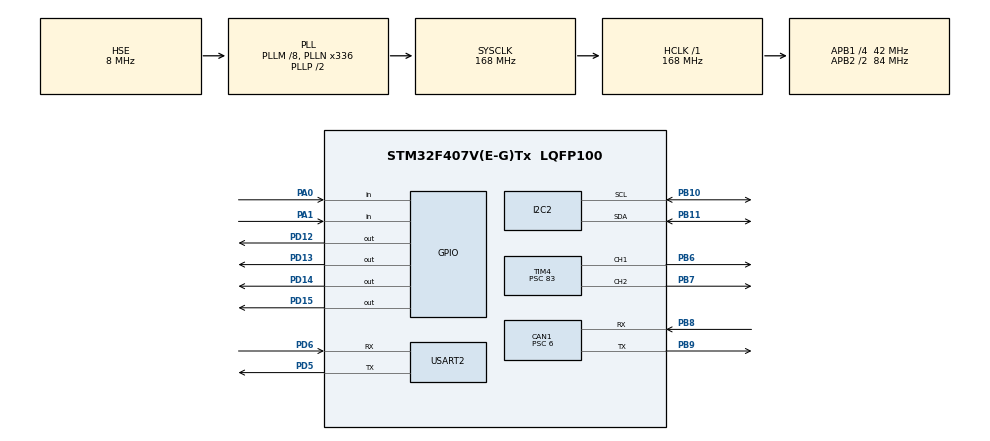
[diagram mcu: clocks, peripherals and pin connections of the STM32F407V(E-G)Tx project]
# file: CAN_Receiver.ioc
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CAN1.BS1=CAN_BS1_11TQ
CAN1.BS2=CAN_BS2_2TQ
CAN1.CalculateBaudRate=500000
CAN1.CalculateTimeBit=2000
CAN1.CalculateTimeQuantum=142.85714285714286
CAN1.NART=ENABLE
CAN1.Prescaler=6
Mcu.Family=STM32F4
Mcu.Name=STM32F407V(E-G)Tx
Mcu.Package=LQFP100
NVIC.CAN1_RX0_IRQn=true\:0\:0\:false\:false\:true\:true\:true\:true
NVIC.PriorityGroup=NVIC_PRIORITYGROUP_4
PA0-WKUP.Signal=GPIO_Input
PA1.Signal=GPIO_Input
PA13.Mode=Serial_Wire
PA13.Signal=SYS_JTMS-SWDIO
PA14.Mode=Serial_Wire
PA14.Signal=SYS_JTCK-SWCLK
PB10.Mode=I2C
PB10.Signal=I2C2_SCL
PB11.Mode=I2C
PB11.Signal=I2C2_SDA
PB6.GPIO_PuPd=GPIO_PULLUP
PB6.Signal=S_TIM4_CH1
PB7.GPIO_PuPd=GPIO_PULLUP
PB7.Signal=S_TIM4_CH2
PB8.Mode=CAN_Activate
PB8.Signal=CAN1_RX
PB9.Mode=CAN_Activate
PB9.Signal=CAN1_TX
PD12.Signal=GPIO_Output
PD13.Signal=GPIO_Output
PD14.Signal=GPIO_Output
PD15.Signal=GPIO_Output
PD5.Mode=Asynchronous
PD5.Signal=USART2_TX
PD6.Mode=Asynchronous
PD6.Signal=USART2_RX
PH0-OSC_IN.Mode=HSE-External-Oscillator
PH0-OSC_IN.Signal=RCC_OSC_IN
PH1-OSC_OUT.Mode=HSE-External-Oscillator
PH1-OSC_OUT.Signal=RCC_OSC_OUT
ProjectManager.HeapSize=0x200
ProjectManager.StackSize=0x400
ProjectManager.TargetToolchain=STM32CubeIDE
RCC.48MHZClocksFreq_Value=84000000
RCC.AHBFreq_Value=168000000
RCC.APB1CLKDivider=RCC_HCLK_DIV4
RCC.APB1Freq_Value=42000000
RCC.APB1TimFreq_Value=84000000
RCC.APB2CLKDivider=RCC_HCLK_DIV2
RCC.APB2Freq_Value=84000000
RCC.APB2TimFreq_Value=168000000
RCC.CortexFreq_Value=168000000
RCC.HCLKFreq_Value=168000000
RCC.HSE_VALUE=8000000
RCC.HSI_VALUE=16000000
RCC.LSE_VALUE=32768
RCC.PLLM=8
RCC.PLLN=336
RCC.PLLSourceVirtual=RCC_PLLSOURCE_HSE
RCC.SYSCLKFreq_VALUE=168000000
RCC.SYSCLKSource=RCC_SYSCLKSOURCE_PLLCLK
RCC.VCOOutputFreq_Value=336000000
SH.S_TIM4_CH1.0=TIM4_CH1,PWM Generation1 CH1
SH.S_TIM4_CH2.0=TIM4_CH2,PWM Generation2 CH2
TIM4.AutoReloadPreload=TIM_AUTORELOAD_PRELOAD_ENABLE
TIM4.Channel-PWM\ Generation1\ CH1=TIM_CHANNEL_1
TIM4.Channel-PWM\ Generation2\ CH2=TIM_CHANNEL_2
TIM4.Period=19999
TIM4.Prescaler=83
USART2.VirtualMode=VM_ASYNC
board=custom

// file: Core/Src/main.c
/*/* USER CODE BEGIN Header */
/**
  ******************************************************************************
  * @file           : main.c
  * @brief          : Main program body
  ******************************************************************************
  * @attention
  *
  * Copyright (c) 2026 STMicroelectronics.
  * All rights reserved.
  *
  * This software is licensed under terms that can be found in the LICENSE file
  * in the root directory of this software component.
  * If no LICENSE file comes with this software, it is provided AS-IS.
  *
  ******************************************************************************
  */
/* USER CODE END Header */
#include "main.h"

/* USER CODE BEGIN Includes */
#include<string.h>
#include<stdio.h>
#include <stdint.h>
#include "lcd.h"
/* USER CODE END Includes */

/* USER CODE BEGIN PD */
#define SERVO_0_DEG    500    // 0.5 ms pulse
#define SERVO_90_DEG   1500   // 1.5 ms pulse
#define GATE_OPEN_TIME 3000
/* USER CODE END PD */

CAN_HandleTypeDef hcan1;

I2C_HandleTypeDef hi2c2;

TIM_HandleTypeDef htim4;

UART_HandleTypeDef huart2;

/* USER CODE BEGIN PV */
char uartMsg[100];

CAN_RxHeaderTypeDef RxHeader;
uint8_t RxData[8];

uint8_t Slot1_Status = 0;
uint8_t Slot2_Status = 0;
/* USER CODE END PV */

void SystemClock_Config(void);
static void MX_GPIO_Init(void);
static void MX_CAN1_Init(void);
static void MX_USART2_UART_Init(void);
static void MX_I2C2_Init(void);
static void MX_TIM4_Init(void);
/* USER CODE BEGIN PFP */

uint16_t angle_to_pulse(uint8_t angle_deg);
void Servo1_SetAngle(uint8_t angle_deg);
void Servo2_SetAngle(uint8_t angle_deg);

/* USER CODE END PFP */

/* USER CODE BEGIN 0 */
void HAL_CAN_RxFifo0MsgPendingCallback(CAN_HandleTypeDef *hcan)
{
	HAL_GPIO_TogglePin(GPIOD, GPIO_PIN_12);
    if(HAL_CAN_GetRxMessage(hcan,CAN_RX_FIFO0,&RxHeader,RxData) != HAL_OK)
    {
    	sprintf(uartMsg,"ERROR: CAN Receive Failed\r\n");
        HAL_UART_Transmit(&huart2,(uint8_t*)uartMsg,strlen(uartMsg),HAL_MAX_DELAY);
        return;
    }

    if(RxHeader.IDE == CAN_ID_STD &&
       RxHeader.StdId == 0x123)
    {
    	if(RxHeader.DLC == 2)
    	{
    	    Slot1_Status = RxData[0];
    	    Slot2_Status = RxData[1];
    	}
    	else
    	{
    	    sprintf(uartMsg,"ERROR: Invalid DLC = %d\r\n",RxHeader.DLC);
    	    HAL_UART_Transmit(&huart2,(uint8_t*)uartMsg,strlen(uartMsg),HAL_MAX_DELAY);
    	    return;
    	}

        sprintf(uartMsg,"Received: S1=%d S2=%d\r\n",Slot1_Status,Slot2_Status);

        HAL_UART_Transmit(&huart2,(uint8_t*)uartMsg,strlen(uartMsg),HAL_MAX_DELAY);

        /* LED for Slot 1 */
        if(Slot1_Status == 1)
            HAL_GPIO_WritePin(GPIOD, GPIO_PIN_13, GPIO_PIN_SET);
        else
            HAL_GPIO_WritePin(GPIOD, GPIO_PIN_13, GPIO_PIN_RESET);

        /* LED for Slot 2 */
        if(Slot2_Status == 1)
            HAL_GPIO_WritePin(GPIOD, GPIO_PIN_14, GPIO_PIN_SET);
        else
            HAL_GPIO_WritePin(GPIOD, GPIO_PIN_14, GPIO_PIN_RESET);
    }
    else
    {
        sprintf(uartMsg,"Unknown CAN ID: 0x%03lX\r\n",RxHeader.StdId);
        HAL_UART_Transmit(&huart2,(uint8_t*)uartMsg,strlen(uartMsg),HAL_MAX_DELAY);
    }
}
/* USER CODE END 0 */

int main(void)
{

  /* MCU Configuration--------------------------------------------------------*/

  /* Reset of all peripherals, Initializes the Flash interface and the Systick. */
  HAL_Init();

  /* Configure the system clock */
  SystemClock_Config();

  /* Initialize all configured peripherals */
  MX_GPIO_Init();
  MX_CAN1_Init();
  MX_USART2_UART_Init();
  MX_I2C2_Init();
  MX_TIM4_Init();

  /* USER CODE BEGIN 2 */
  HAL_TIM_PWM_Start(&htim4, TIM_CHANNEL_1);
  HAL_TIM_PWM_Start(&htim4, TIM_CHANNEL_2);

  __HAL_TIM_SET_COMPARE(&htim4, TIM_CHANNEL_1, SERVO_0_DEG);
  __HAL_TIM_SET_COMPARE(&htim4, TIM_CHANNEL_2, SERVO_0_DEG);
  HAL_Delay(500);

  LCD_Init();
  LCD_UpdateParkingDisplay();

//  Servo1_SetAngle(90);
//    Servo2_SetAngle(90);
//    HAL_Delay(1000);
  /* USER CODE END 2 */

  /* USER CODE BEGIN 2 */
  HAL_UART_Transmit(&huart2, (uint8_t*)"HELLO\n\r", 7, HAL_MAX_DELAY);
  if (HAL_CAN_Start(&hcan1) == HAL_OK)
  {
      if(HAL_CAN_ActivateNotification(&hcan1,CAN_IT_RX_FIFO0_MSG_PENDING) != HAL_OK)
      {
          sprintf(uartMsg,"ERROR: CAN Notification Failed\r\n");
          HAL_UART_Transmit(&huart2,(uint8_t*)uartMsg,strlen(uartMsg),HAL_MAX_DELAY);

          Error_Handler();
      }

      HAL_GPIO_WritePin(GPIOD, GPIO_PIN_15, GPIO_PIN_SET);

      sprintf(uartMsg,"CAN Started Successfully\r\n");
      HAL_UART_Transmit(&huart2,(uint8_t*)uartMsg,strlen(uartMsg),HAL_MAX_DELAY);
  }
  else
  {
      HAL_GPIO_WritePin(GPIOD, GPIO_PIN_15, GPIO_PIN_RESET);

      sprintf(uartMsg,"ERROR: CAN Start Failed\r\n");
      HAL_UART_Transmit(&huart2,(uint8_t*)uartMsg,strlen(uartMsg),HAL_MAX_DELAY);
  }

  /* USER CODE END 2 */

  /* Infinite loop */
  /* USER CODE BEGIN WHILE */
//  while (1)
//  {
//    /* USER CODE END WHILE */
//
//    /* USER CODE BEGIN 3 */
//  /* USER CODE END 3 */
//  }

  while (1)
  	  {
  	      uint8_t entryNow = (HAL_GPIO_ReadPin(GPIOA, GPIO_PIN_0) == GPIO_PIN_SET);
  	      uint8_t exitNow  = (HAL_GPIO_ReadPin(GPIOA, GPIO_PIN_1) == GPIO_PIN_SET);

  	      // -------- ENTRY GATE --------
//  	      if (entryNow)
//  	      {
//  	          __HAL_TIM_SET_COMPARE(&htim4, TIM_CHANNEL_1, SERVO_90_DEG);
//  	          HAL_GPIO_WritePin(GPIOD, GPIO_PIN_12, GPIO_PIN_RESET);   // Green LED ON
//
//  	          if (!entryPrevState && (parkedCount < TOTAL_SLOTS))   // rising edge + slot available
//  	          {
//  	              parkedCount++;
//  	              lcdNeedsUpdate = 1;
//  	          }
//  	      }
//  	      else
//  	      {
//  	          __HAL_TIM_SET_COMPARE(&htim4, TIM_CHANNEL_1, SERVO_0_DEG);
//  	          HAL_GPIO_WritePin(GPIOD, GPIO_PIN_12, GPIO_PIN_SET);     // Green LED OFF
//  	      }
//  	      entryPrevState = entryNow;

  	    if(entryNow)
  	    {
  	        if(parkedCount < TOTAL_SLOTS)        // Parking available
  	        {
  	            __HAL_TIM_SET_COMPARE(&htim4, TIM_CHANNEL_1, SERVO_90_DEG);

  	            if(!entryPrevState)
  	            {
  	                parkedCount++;
  	                lcdNeedsUpdate = 1;
  	            }
  	        }
  	        else                                 // Parking Full
  	        {
  	            __HAL_TIM_SET_COMPARE(&htim4, TIM_CHANNEL_1, SERVO_0_DEG);
  	            lcdNeedsUpdate = 1;              // LCD shows "Parking Full"
  	        }
  	    }
  	    else
  	    {
  	        __HAL_TIM_SET_COMPARE(&htim4, TIM_CHANNEL_1, SERVO_0_DEG);
  	    }

  	    entryPrevState = entryNow;

  	      // -------- EXIT GATE --------
  	      if (exitNow)
  	      {
  	          __HAL_TIM_SET_COMPARE(&htim4, TIM_CHANNEL_2, SERVO_90_DEG);
  	          HAL_GPIO_WritePin(GPIOD, GPIO_PIN_13, GPIO_PIN_RESET);   // Orange LED ON

  	          if (!exitPrevState && (parkedCount > 0))   // rising edge + car actually parked
  	          {
  	              parkedCount--;
  	              lcdNeedsUpdate = 1;
  	          }
  	      }
  	      else
  	      {
  	          __HAL_TIM_SET_COMPARE(&htim4, TIM_CHANNEL_2, SERVO_0_DEG);
  	          HAL_GPIO_WritePin(GPIOD, GPIO_PIN_13, GPIO_PIN_SET);     // Orange LED OFF
  	      }
  	      exitPrevState = exitNow;

  	      // -------- LCD update (only when count changes, avoids I2C spam) --------
  	      if (lcdNeedsUpdate)
  	      {
  	    	  HAL_Delay(200);
  	          LCD_UpdateParkingDisplay();
  	          lcdNeedsUpdate = 0;
  	      }

  	      HAL_Delay(20);
  	  }

}
void SystemClock_Config(void)
{
  RCC_OscInitTypeDef RCC_OscInitStruct = {0};
  RCC_ClkInitTypeDef RCC_ClkInitStruct = {0};

  /** Configure the main internal regulator output voltage
  */
  __HAL_RCC_PWR_CLK_ENABLE();
  __HAL_PWR_VOLTAGESCALING_CONFIG(PWR_REGULATOR_VOLTAGE_SCALE1);

  /** Initializes the RCC Oscillators according to the specified parameters
  * in the RCC_OscInitTypeDef structure.
  */
  RCC_OscInitStruct.OscillatorType = RCC_OSCILLATORTYPE_HSE;
  RCC_OscInitStruct.HSEState = RCC_HSE_ON;
  RCC_OscInitStruct.PLL.PLLState = RCC_PLL_ON;
  RCC_OscInitStruct.PLL.PLLSource = RCC_PLLSOURCE_HSE;
  RCC_OscInitStruct.PLL.PLLM = 8;
  RCC_OscInitStruct.PLL.PLLN = 336;
  RCC_OscInitStruct.PLL.PLLP = RCC_PLLP_DIV2;
  RCC_OscInitStruct.PLL.PLLQ = 4;
  if (HAL_RCC_OscConfig(&RCC_OscInitStruct) != HAL_OK)
  {
    Error_Handler();
  }

  /** Initializes the CPU, AHB and APB buses clocks
  */
  RCC_ClkInitStruct.ClockType = RCC_CLOCKTYPE_HCLK|RCC_CLOCKTYPE_SYSCLK
                              |RCC_CLOCKTYPE_PCLK1|RCC_CLOCKTYPE_PCLK2;
  RCC_ClkInitStruct.SYSCLKSource = RCC_SYSCLKSOURCE_PLLCLK;
  RCC_ClkInitStruct.AHBCLKDivider = RCC_SYSCLK_DIV1;
  RCC_ClkInitStruct.APB1CLKDivider = RCC_HCLK_DIV4;
  RCC_ClkInitStruct.APB2CLKDivider = RCC_HCLK_DIV2;

  if (HAL_RCC_ClockConfig(&RCC_ClkInitStruct, FLASH_LATENCY_5) != HAL_OK)
  {
    Error_Handler();
  }
}

static void MX_CAN1_Init(void)
{

  hcan1.Instance = CAN1;
  hcan1.Init.Prescaler = 6;
  hcan1.Init.Mode = CAN_MODE_NORMAL;
  hcan1.Init.SyncJumpWidth = CAN_SJW_1TQ;
  hcan1.Init.TimeSeg1 = CAN_BS1_11TQ;
  hcan1.Init.TimeSeg2 = CAN_BS2_2TQ;
  hcan1.Init.TimeTriggeredMode = DISABLE;
  hcan1.Init.AutoBusOff = DISABLE;
  hcan1.Init.AutoWakeUp = DISABLE;
  hcan1.Init.AutoRetransmission = ENABLE;
  hcan1.Init.ReceiveFifoLocked = DISABLE;
  hcan1.Init.TransmitFifoPriority = DISABLE;
  if (HAL_CAN_Init(&hcan1) != HAL_OK)
  {
    Error_Handler();
  }
  /* USER CODE BEGIN CAN1_Init 2 */
  CAN_FilterTypeDef canFilter;

  canFilter.FilterActivation = ENABLE;
  canFilter.FilterBank = 0;
  canFilter.FilterFIFOAssignment = CAN_FILTER_FIFO0;
  canFilter.FilterIdHigh = 0x0000;
  canFilter.FilterIdLow = 0x0000;
  canFilter.FilterMaskIdHigh = 0x0000;
  canFilter.FilterMaskIdLow = 0x0000;
  canFilter.FilterMode = CAN_FILTERMODE_IDMASK;
  canFilter.FilterScale = CAN_FILTERSCALE_32BIT;
  canFilter.SlaveStartFilterBank = 14;

  if(HAL_CAN_ConfigFilter(&hcan1, &canFilter) != HAL_OK)
  {
      Error_Handler();
  }
  /* USER CODE END CAN1_Init 2 */

}

static void MX_I2C2_Init(void)
{

  hi2c2.Instance = I2C2;
  hi2c2.Init.ClockSpeed = 100000;
  hi2c2.Init.DutyCycle = I2C_DUTYCYCLE_2;
  hi2c2.Init.OwnAddress1 = 0;
  hi2c2.Init.AddressingMode = I2C_ADDRESSINGMODE_7BIT;
  hi2c2.Init.DualAddressMode = I2C_DUALADDRESS_DISABLE;
  hi2c2.Init.OwnAddress2 = 0;
  hi2c2.Init.GeneralCallMode = I2C_GENERALCALL_DISABLE;
  hi2c2.Init.NoStretchMode = I2C_NOSTRETCH_DISABLE;
  if (HAL_I2C_Init(&hi2c2) != HAL_OK)
  {
    Error_Handler();
  }

}

static void MX_TIM4_Init(void)
{

  TIM_MasterConfigTypeDef sMasterConfig = {0};
  TIM_OC_InitTypeDef sConfigOC = {0};

  htim4.Instance = TIM4;
  htim4.Init.Prescaler = 83;
  htim4.Init.CounterMode = TIM_COUNTERMODE_UP;
  htim4.Init.Period = 19999;
  htim4.Init.ClockDivision = TIM_CLOCKDIVISION_DIV1;
  htim4.Init.AutoReloadPreload = TIM_AUTORELOAD_PRELOAD_ENABLE;
  if (HAL_TIM_PWM_Init(&htim4) != HAL_OK)
  {
    Error_Handler();
  }
  sMasterConfig.MasterOutputTrigger = TIM_TRGO_RESET;
  sMasterConfig.MasterSlaveMode = TIM_MASTERSLAVEMODE_DISABLE;
  if (HAL_TIMEx_MasterConfigSynchronization(&htim4, &sMasterConfig) != HAL_OK)
  {
    Error_Handler();
  }
  sConfigOC.OCMode = TIM_OCMODE_PWM1;
  sConfigOC.Pulse = 0;
  sConfigOC.OCPolarity = TIM_OCPOLARITY_HIGH;
  sConfigOC.OCFastMode = TIM_OCFAST_DISABLE;
  if (HAL_TIM_PWM_ConfigChannel(&htim4, &sConfigOC, TIM_CHANNEL_1) != HAL_OK)
  {
    Error_Handler();
  }
  if (HAL_TIM_PWM_ConfigChannel(&htim4, &sConfigOC, TIM_CHANNEL_2) != HAL_OK)
  {
    Error_Handler();
  }
  HAL_TIM_MspPostInit(&htim4);

}

static void MX_USART2_UART_Init(void)
{

  huart2.Instance = USART2;
  huart2.Init.BaudRate = 115200;
  huart2.Init.WordLength = UART_WORDLENGTH_8B;
  huart2.Init.StopBits = UART_STOPBITS_1;
  huart2.Init.Parity = UART_PARITY_NONE;
  huart2.Init.Mode = UART_MODE_TX_RX;
  huart2.Init.HwFlowCtl = UART_HWCONTROL_NONE;
  huart2.Init.OverSampling = UART_OVERSAMPLING_16;
  if (HAL_UART_Init(&huart2) != HAL_OK)
  {
    Error_Handler();
  }

}

static void MX_GPIO_Init(void)
{
  GPIO_InitTypeDef GPIO_InitStruct = {0};

  /* GPIO Ports Clock Enable */
  __HAL_RCC_GPIOH_CLK_ENABLE();
  __HAL_RCC_GPIOA_CLK_ENABLE();
  __HAL_RCC_GPIOB_CLK_ENABLE();
  __HAL_RCC_GPIOD_CLK_ENABLE();

  /*Configure GPIO pin Output Level */
  HAL_GPIO_WritePin(GPIOD, GPIO_PIN_12|GPIO_PIN_13|GPIO_PIN_14|GPIO_PIN_15, GPIO_PIN_RESET);

  /*Configure GPIO pins : PA0 PA1 */
  GPIO_InitStruct.Pin = GPIO_PIN_0|GPIO_PIN_1;
  GPIO_InitStruct.Mode = GPIO_MODE_INPUT;
  GPIO_InitStruct.Pull = GPIO_NOPULL;
  HAL_GPIO_Init(GPIOA, &GPIO_InitStruct);

  /*Configure GPIO pins : PD12 PD13 PD14 PD15 */
  GPIO_InitStruct.Pin = GPIO_PIN_12|GPIO_PIN_13|GPIO_PIN_14|GPIO_PIN_15;
  GPIO_InitStruct.Mode = GPIO_MODE_OUTPUT_PP;
  GPIO_InitStruct.Pull = GPIO_NOPULL;
  GPIO_InitStruct.Speed = GPIO_SPEED_FREQ_LOW;
  HAL_GPIO_Init(GPIOD, &GPIO_InitStruct);

}

/* USER CODE BEGIN 4 */
uint16_t angle_to_pulse(uint8_t angle)
{
    return 500 + ((uint32_t)angle * 2000) / 180;
}

	void Servo1_SetAngle(uint8_t angle_deg)
	{
	    __HAL_TIM_SET_COMPARE(&htim4, TIM_CHANNEL_1, angle_to_pulse(angle_deg));
	}

	void Servo2_SetAngle(uint8_t angle_deg)
	{
	    __HAL_TIM_SET_COMPARE(&htim4, TIM_CHANNEL_2, angle_to_pulse(angle_deg));
	}

/* USER CODE END 4 */

void Error_Handler(void)
{
  __disable_irq();
  while (1)
  {
  }
}
